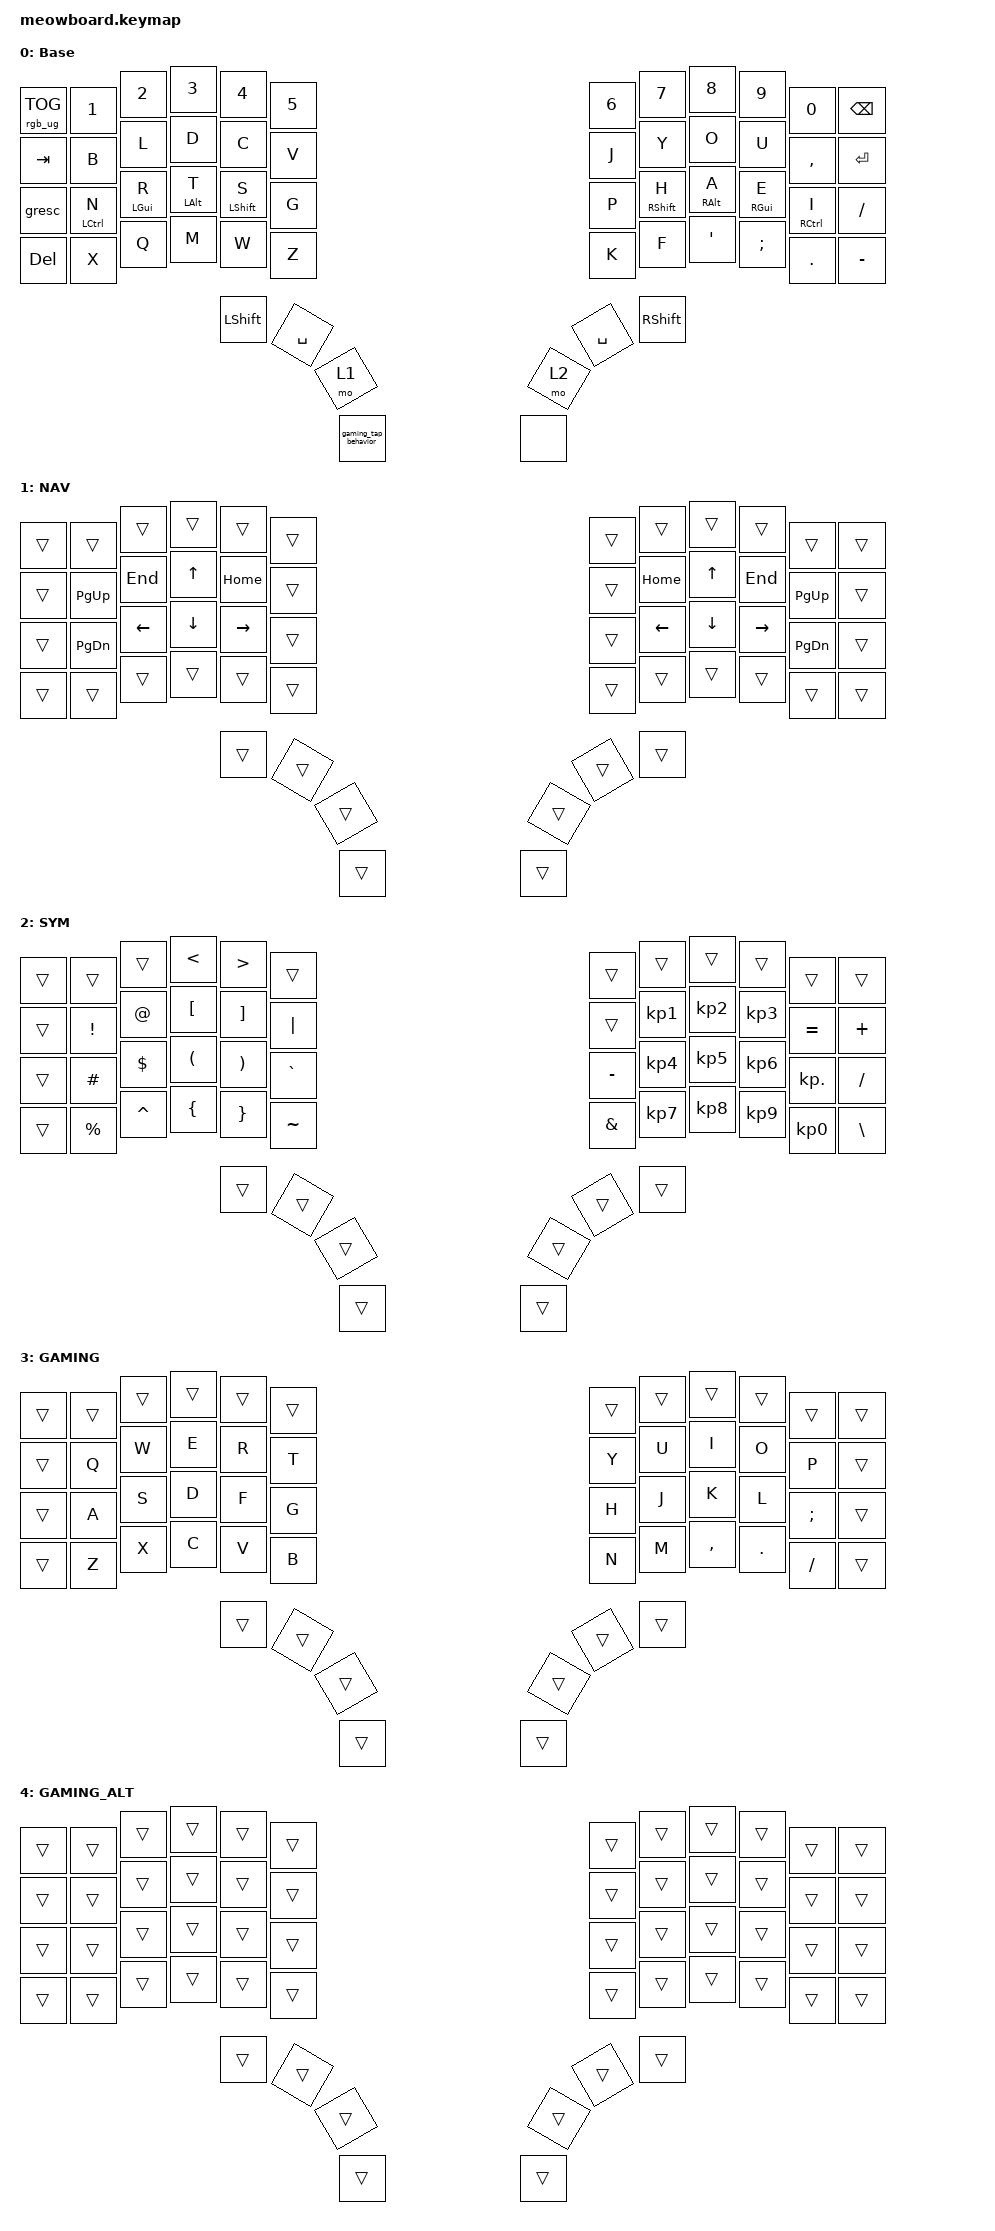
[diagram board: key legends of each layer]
#include <behaviors.dtsi>
#include <dt-bindings/zmk/keys.h>
#include <dt-bindings/zmk/rgb.h>
/ {
    behaviors {
        gaming_tap_behavior: gaming_tap_behavior {
            compatible = "zmk,behavior-tap-dance";
            label = "GAMING_TAP_BEHAVIOR";
            #binding-cells = <0>;
            bindings = <&none>, <&tog 3>;
        };

        mt: mod_tap {
            compatible = "zmk,behavior-hold-tap";
            #binding-cells = <2>;
            flavor = "tap-preferred";
            tapping-term-ms = <200>;
            bindings = <&kp>, <&kp>;
            retro-tap;
            display-name = "Mod-Tap";
        };
    };

    keymap {
        compatible = "zmk,keymap";

        default_layer {
            display-name = "Base";
            bindings = <
&rgb_ug RGB_TOG       &kp N1       &kp N2      &kp N3          &kp N4        &kp N5                  &kp N6  &kp N7        &kp N8           &kp N9      &kp N0       &kp BACKSPACE
&kp TAB     &kp B        &kp L       &kp D           &kp C         &kp V                   &kp J   &kp Y         &kp O            &kp U       &kp COMMA    &kp ENTER
&gresc      &mt LCTRL N  &mt LGUI R  &mt LEFT_ALT T  &mt LSHIFT S  &kp G                   &kp P   &mt RSHIFT H  &mt RIGHT_ALT A  &mt RGUI E  &mt RCTRL I  &kp SLASH
&kp DELETE  &kp X        &kp Q       &kp M           &kp W         &kp Z                   &kp K   &kp F         &kp SQT          &kp SEMI    &kp DOT      &kp MINUS
                         &kp LSHIFT  &kp SPACE       &mo 1         &gaming_tap_behavior    &none   &mo 2         &kp SPACE        &kp RSHIFT
            >;
        };

        NAV {
            bindings = <
&trans  &trans     &trans    &trans    &trans     &trans    &trans  &trans    &trans    &trans     &trans     &trans
&trans  &kp PG_UP  &kp END   &kp UP    &kp HOME   &trans    &trans  &kp HOME  &kp UP    &kp END    &kp PG_UP  &trans
&trans  &kp PG_DN  &kp LEFT  &kp DOWN  &kp RIGHT  &trans    &trans  &kp LEFT  &kp DOWN  &kp RIGHT  &kp PG_DN  &trans
&trans  &trans     &trans    &trans    &trans     &trans    &trans  &trans    &trans    &trans     &trans     &trans
                   &trans    &trans    &trans     &trans    &trans  &trans    &trans    &trans
            >;
        };

        SYM {
            bindings = <
&trans  &trans       &trans      &kp LT                &kp GT                 &trans       &trans     &trans     &trans     &trans     &trans      &trans
&trans  &kp EXCL     &kp AT      &kp LBKT              &kp RBKT               &kp PIPE     &trans     &kp KP_N1  &kp KP_N2  &kp KP_N3  &kp EQUAL   &kp PLUS
&trans  &kp HASH     &kp DOLLAR  &kp LEFT_PARENTHESIS  &kp RIGHT_PARENTHESIS  &kp GRAVE    &kp MINUS  &kp KP_N4  &kp KP_N5  &kp KP_N6  &kp KP_DOT  &kp SLASH
&trans  &kp PERCENT  &kp CARET   &kp LEFT_BRACE        &kp RIGHT_BRACE        &kp TILDE    &kp AMPS   &kp KP_N7  &kp KP_N8  &kp KP_N9  &kp KP_N0   &kp BACKSLASH
                     &trans      &trans                &trans                 &trans       &trans     &trans     &trans     &trans
            >;
        };

        GAMING {
            bindings = <
&trans  &trans  &trans  &trans  &trans  &trans    &trans  &trans  &trans     &trans   &trans    &trans
&trans  &kp Q   &kp W   &kp E   &kp R   &kp T     &kp Y   &kp U   &kp I      &kp O    &kp P     &trans
&trans  &kp A   &kp S   &kp D   &kp F   &kp G     &kp H   &kp J   &kp K      &kp L    &kp SEMI  &trans
&trans  &kp Z   &kp X   &kp C   &kp V   &kp B     &kp N   &kp M   &kp COMMA  &kp DOT  &kp FSLH  &trans
                &trans  &trans  &trans  &trans    &trans  &trans  &trans     &trans
            >;
        };

        GAMING_ALT {
            bindings = <
&trans  &trans  &trans  &trans  &trans  &trans    &trans  &trans  &trans  &trans  &trans  &trans
&trans  &trans  &trans  &trans  &trans  &trans    &trans  &trans  &trans  &trans  &trans  &trans
&trans  &trans  &trans  &trans  &trans  &trans    &trans  &trans  &trans  &trans  &trans  &trans
&trans  &trans  &trans  &trans  &trans  &trans    &trans  &trans  &trans  &trans  &trans  &trans
                &trans  &trans  &trans  &trans    &trans  &trans  &trans  &trans
            >;
        };
    };
};

